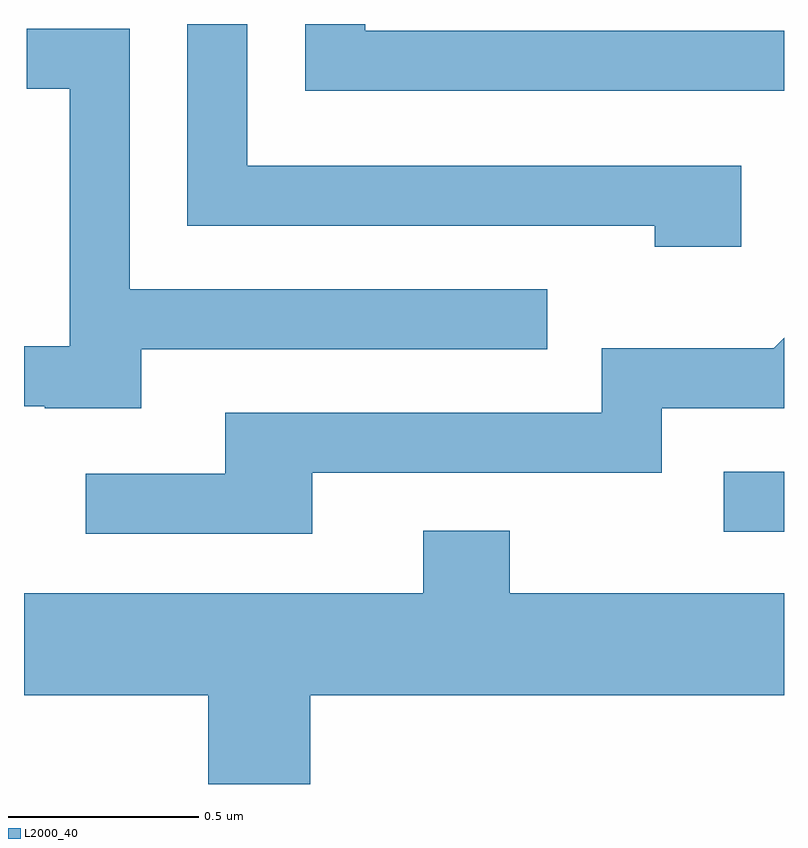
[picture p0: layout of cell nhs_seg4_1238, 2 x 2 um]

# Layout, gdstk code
import gdstk
lib = gdstk.Library(unit=1e-6, precision=1e-09)
def R(c, l, rs):  # rectangles x0, y0, x1, y1
    for r in rs: c.add(gdstk.rectangle(r[:2], r[2:], *l))
def P(c, l, *ps):  # polygons
    for p in ps: c.add(gdstk.Polygon(p, *l))
L2000_40 = (2000, 40)

nhs_seg4_1238 = lib.new_cell('nhs_seg4_1238')
R(nhs_seg4_1238, L2000_40, [(196.453,1259.646,196.611,1259.804)])
P(nhs_seg4_1238, L2000_40, [(196.611,1260.964),(195.509,1260.964),(195.509,1260.982),(195.351,1260.982),(195.351,1260.806),(196.611,1260.806)],
  [(196.499,1260.609),(195.199,1260.609),(195.199,1260.982),(195.041,1260.982),(195.041,1260.451),(196.271,1260.451),(196.271,1260.396),(196.499,1260.396)],
  [(194.919,1260.126),(195.988,1260.126),(195.988,1260.284),(194.889,1260.284),(194.889,1260.969),(194.618,1260.969),(194.618,1260.811),(194.731,1260.811),(194.731,1260.134),(194.611,1260.134),(194.611,1259.976),(194.665,1259.976),(194.665,1259.971),(194.919,1259.971)],
  [(195.369,1259.801),(196.289,1259.801),(196.289,1259.971),(196.611,1259.971),(196.611,1260.156),(196.584,1260.129),(196.131,1260.129),(196.131,1259.959),(195.141,1259.959),(195.141,1259.799),(194.773,1259.799),(194.773,1259.641),(195.369,1259.641)],
  [(195.364,1259.216),(196.611,1259.216),(196.611,1259.484),(195.889,1259.484),(195.889,1259.649),(195.661,1259.649),(195.661,1259.484),(194.611,1259.484),(194.611,1259.216),(195.096,1259.216),(195.096,1258.982),(195.364,1258.982)])

lib.write_gds('nhs_seg4_1238.gds')
